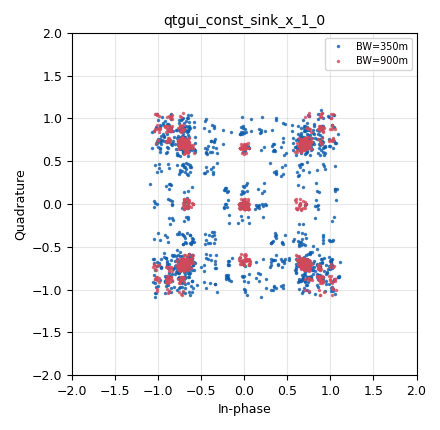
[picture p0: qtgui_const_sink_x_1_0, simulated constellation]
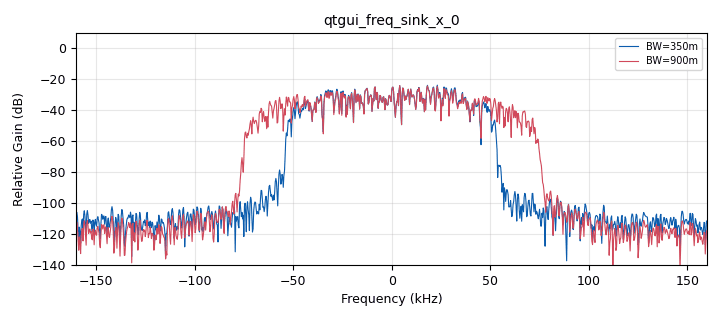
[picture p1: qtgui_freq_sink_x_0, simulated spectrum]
<?xml version='1.0' encoding='utf-8'?>
<?grc format='1' created='3.7.11'?>
<flow_graph>
<block>
<key>options</key>
<param><key>id</key><value>top_block</value></param>
<param><key>author</key><value>Rafael Campello</value></param>
<param><key>generate_options</key><value>qt_gui</value></param>
<param><key>title</key><value>RRC Excess BW</value></param>
</block>
<block>
<key>variable_constellation</key>
<param><key>id</key><value>PSK</value></param>
<param><key>comment</key><value>Mudar constelações aqui.
Pode-se personalizar com o Contellation Object.</value></param>
<param><key>type</key><value>qpsk</value></param>
<param><key>precision</key><value>8</value></param>
</block>
<block>
<key>variable</key>
<param><key>id</key><value>samp_rate</value></param>
<param><key>value</key><value>320000</value></param>
</block>
<block>
<key>analog_random_source_x</key>
<param><key>id</key><value>analog_random_source_x_0</value></param>
<param><key>max</key><value>256</value></param>
<param><key>min</key><value>0</value></param>
<param><key>num_samps</key><value>1000</value></param>
<param><key>type</key><value>byte</value></param>
<param><key>repeat</key><value>True</value></param>
</block>
<block>
<key>blocks_throttle</key>
<param><key>id</key><value>blocks_throttle_0</value></param>
<param><key>samples_per_second</key><value>samp_rate</value></param>
<param><key>type</key><value>byte</value></param>
</block>
<block>
<key>digital_constellation_modulator</key>
<param><key>id</key><value>digital_constellation_modulator_0</value></param>
<param><key>constellation</key><value>PSK</value></param>
<param><key>differential</key><value>True</value></param>
<param><key>excess_bw</key><value>0.350</value></param>
<param><key>samples_per_symbol</key><value>4</value></param>
</block>
<block>
<key>digital_constellation_modulator</key>
<param><key>id</key><value>digital_constellation_modulator_0_0</value></param>
<param><key>constellation</key><value>PSK</value></param>
<param><key>differential</key><value>True</value></param>
<param><key>excess_bw</key><value>0.9</value></param>
<param><key>samples_per_symbol</key><value>4</value></param>
</block>
<block>
<key>qtgui_const_sink_x</key>
<param><key>id</key><value>qtgui_const_sink_x_1_0</value></param>
<param><key>gui_hint</key><value>0, 1, 1, 1</value></param>
<param><key>label1</key><value>BW=350m</value></param>
<param><key>marker1</key><value>1</value></param>
<param><key>style1</key><value>2</value></param>
<param><key>label2</key><value>BW=900m</value></param>
<param><key>marker2</key><value>6</value></param>
<param><key>style2</key><value>4</value></param>
<param><key>nconnections</key><value>2</value></param>
<param><key>size</key><value>1024</value></param>
<param><key>type</key><value>complex</value></param>
</block>
<block>
<key>qtgui_freq_sink_x</key>
<param><key>id</key><value>qtgui_freq_sink_x_0</value></param>
<param><key>bw</key><value>samp_rate</value></param>
<param><key>fc</key><value>0</value></param>
<param><key>ctrlpanel</key><value>True</value></param>
<param><key>fftsize</key><value>1024</value></param>
<param><key>gui_hint</key><value>0, 0, 1, 1</value></param>
<param><key>label1</key><value>BW=350m</value></param>
<param><key>label2</key><value>BW=900m</value></param>
<param><key>nconnections</key><value>2</value></param>
<param><key>showports</key><value>True</value></param>
<param><key>type</key><value>complex</value></param>
<param><key>wintype</key><value>firdes.WIN_BLACKMAN_hARRIS</value></param>
</block>
<connection><source_block_id>analog_random_source_x_0</source_block_id><sink_block_id>blocks_throttle_0</sink_block_id><source_key>0</source_key><sink_key>0</sink_key></connection>
<connection><source_block_id>blocks_throttle_0</source_block_id><sink_block_id>digital_constellation_modulator_0</sink_block_id><source_key>0</source_key><sink_key>0</sink_key></connection>
<connection><source_block_id>blocks_throttle_0</source_block_id><sink_block_id>digital_constellation_modulator_0_0</sink_block_id><source_key>0</source_key><sink_key>0</sink_key></connection>
<connection><source_block_id>digital_constellation_modulator_0</source_block_id><sink_block_id>qtgui_const_sink_x_1_0</sink_block_id><source_key>0</source_key><sink_key>0</sink_key></connection>
<connection><source_block_id>digital_constellation_modulator_0</source_block_id><sink_block_id>qtgui_freq_sink_x_0</sink_block_id><source_key>0</source_key><sink_key>0</sink_key></connection>
<connection><source_block_id>digital_constellation_modulator_0_0</source_block_id><sink_block_id>qtgui_const_sink_x_1_0</sink_block_id><source_key>0</source_key><sink_key>1</sink_key></connection>
<connection><source_block_id>digital_constellation_modulator_0_0</source_block_id><sink_block_id>qtgui_freq_sink_x_0</sink_block_id><source_key>0</source_key><sink_key>1</sink_key></connection>
</flow_graph>
